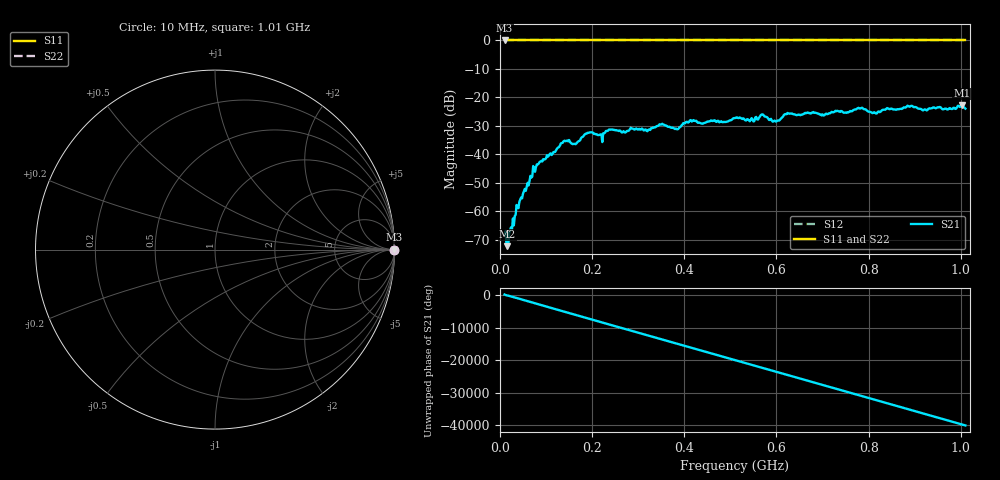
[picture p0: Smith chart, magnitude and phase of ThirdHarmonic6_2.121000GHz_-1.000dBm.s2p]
! 8/17/2025 1:21:30 AM
! C:\ANRITSUVNA\TEMP\TEMP.S2P
! CHANNEL.1
! TR.MEASUREMENT
! RAW.DATA
! RF.CORRECTION.OFF
! AVERAGING.OFF
! IF.BANDWIDTH: 5KHZ
! SWEEPTYPE:  FREQ.SWEEP(Linear)
! Reference Plane Port Info
! PORT:  PORT1  PORT2
! DISTANCE:  0  m  0  m
! TIME:  0  s  0  s
! PHASE.OFFSET:  0  deg.  0  deg.
! LOSS:  0  dB  0  dB
! REF.LOSS:  0  dB  0  dB
! REF.FREQ:  0  Hz  0  Hz
! Power Info
! POWER:  -20  dBm  -20  dBm
! EFF.POWER:  -20  dBm  -20  dBm
! SOURCE.ATTEN:  0  dB  0  dB
! TEST.ATTEN:  0  dB  0  dB
# GHZ S RI R 50.0
! FREQ.GHZ  S11RE  S11IM  S21RE  S21IM  S12RE  S12IM  S22RE  S22IM
!; PortSelection: Port_12
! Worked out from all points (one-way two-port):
!   501 points, 10 MHz to 1.01 GHz, reference 50 ohm
!   highest |S21| = -22.75 dB at 1.002 GHz (marker M1); lowest = -72.2 dB at 16 MHz (marker M2)
!   lowest |S11| = 0.0 dB at 10 MHz (marker M3)
!   |S11| at or under -10 dB: nowhere
!   |S22| runs from 0.0 to 0.0 dB; largest |S21 - S12| = 1.1
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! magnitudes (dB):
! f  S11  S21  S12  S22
! 10 MHz  0.0  -68.2  0.0  0.0
! 16 MHz  0.0  -72.2  0.0  0.0
! 40 MHz  0.0  -58.9  0.0  0.0
! 76 MHz  0.0  -46.1  0.0  0.0
! 136 MHz  0.0  -35.9  0.0  0.0
! 162 MHz  0.0  -36.3  0.0  0.0
! 178 MHz  0.0  -33.9  0.0  0.0
! 194 MHz  0.0  -32.4  0.0  0.0
! 218 MHz  0.0  -33.0  0.0  0.0
! 240 MHz  0.0  -31.3  0.0  0.0
! 344 MHz  0.0  -29.9  0.0  0.0
! 384 MHz  0.0  -31.2  0.0  0.0
! 416 MHz  0.0  -28.5  0.0  0.0
! 510 MHz  0.0  -27.3  0.0  0.0
! 548 MHz  0.0  -27.7  0.0  0.0
! 570 MHz  0.0  -25.9  0.0  0.0
! 596 MHz  0.0  -28.1  0.0  0.0
! 622 MHz  0.0  -25.9  0.0  0.0
! 678 MHz  0.0  -25.3  0.0  0.0
! 844 MHz  0.0  -24.1  0.0  0.0
! 1.002 GHz  0.0  -22.7  0.0  0.0
! 1.01 GHz  0.0  -23.9  0.0  0.0
